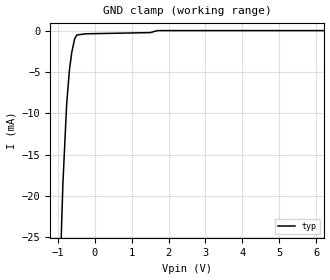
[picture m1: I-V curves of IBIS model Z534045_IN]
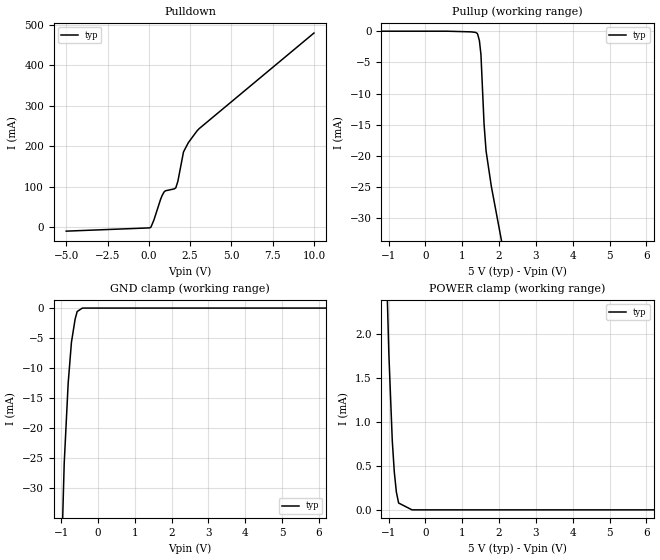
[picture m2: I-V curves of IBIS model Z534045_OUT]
| YOU ARE ONLY AUTHORIZED TO USE THIS SOFTWARE
| ACCORDING TO LICENSOR'S LICENSE RESTRICTIONS.
[IBIS Ver] 3.1
[File Name] mc54f00j.ibs
[File Rev] 2.0
[Source] Measured and created by ICX Technology
[Date] Friday 7/14/00 9:08:02 AM
[Copyright]
| (C) COPYRIGHT 1993-2000
| MENTOR GRAPHICS CORPORATION
| ICX STANDARD LIBRARY, ICX PROJECT MODELING,
| ICX CUSTOM MODELING, ICX VENDOR MODEL
| ALL RIGHTS RESERVED.
| THE FOLLOWING ARE TRADEMARKS OR SERVICE MARKS OF
| MENTOR GRAPHICS CORPORATION:ICX (R), ICX STANDARD
| LIBRARY(R), ICX PROJECT MODELING(R), ICX CUSTOM
| MODELING(R), qualityIBIS(TM), MODELVIEWER(TM),
| AND MODELEDITOR(TM)
| ALL COPIES OF SOFTWARE, INCLUDING BUT NOT LIMITED TO
| ANY MODIFICATIONS, ENHANCEMENTS OR DERIVATIVE WORKS,
| MUST CONTAIN ALL MENTOR GRAPHICS CORPORATION'S
| NOTICES AND LEGENDS, INCLUDING THOSE EMBEDDED IN
| SOFTWARE AND THOSE AFFIXED TO SOFTWARE MEDIUM
| AND CONTAINER, AS RECEIVED FROM MENTOR GRAPHICS
| CORPORATION.
|  ZAP Model Builder 2.7
[Component] MC54F00J
[Manufacturer] OnSemiconductor
[Package]
| variable   typ   min   max
R_pkg  .21ohms NA NA
L_pkg  4.543nH NA NA
C_pkg  1.8pF NA NA
[Pin] signal_name  model_name  R_pin  L_pin C_pin
1 1A Z534045_IN .22 6.757n 2.434p
2 1B Z534045_IN .212 4.757n 1.941p
3 1Y Z534045_OUT .204 3.257n 1.448p
4 2A Z534045_IN .196 2.257n .955p
5 2B Z534045_IN .204 3.257n 1.448p
6 2Y Z534045_OUT .212 4.757n 1.941p
7 GND GND .22 6.757n 2.434p
8 3Y Z534045_OUT .22 6.757n 2.434p
9 3A Z534045_IN .212 4.757n 1.941p
10 3B Z534045_IN .204 3.257n 1.448p
11 4Y Z534045_OUT .196 2.257n .955p
12 4A Z534045_IN .204 3.257n 1.448p
13 4B Z534045_IN .212 4.757n 1.941p
14 VCC POWER .22 6.757n 2.434p
| Models and submodels in the file (2): Z534045_IN (Input), Z534045_OUT (Output)
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| (C) COPYRIGHT 1993-2000
| MENTOR GRAPHICS CORPORATION
| ICX STANDARD LIBRARY, ICX PROJECT MODELING,
| ICX CUSTOM MODELING, ICX VENDOR MODEL
| ALL RIGHTS RESERVED.
| THE FOLLOWING ARE TRADEMARKS OR SERVICE MARKS OF
| MENTOR GRAPHICS CORPORATION:ICX (R), ICX STANDARD
| LIBRARY(R), ICX PROJECT MODELING(R), ICX CUSTOM
| MODELING(R), qualityIBIS(TM), MODELVIEWER(TM),
| AND MODELEDITOR(TM)
| ALL COPIES OF SOFTWARE, INCLUDING BUT NOT LIMITED TO
| ANY MODIFICATIONS, ENHANCEMENTS OR DERIVATIVE WORKS,
| MUST CONTAIN ALL MENTOR GRAPHICS CORPORATION'S
| NOTICES AND LEGENDS, INCLUDING THOSE EMBEDDED IN
| SOFTWARE AND THOSE AFFIXED TO SOFTWARE MEDIUM
| AND CONTAINER, AS RECEIVED FROM MENTOR GRAPHICS
| CORPORATION.
| Model Application Version 1.89 2/18/99.
[Model] Z534045_IN
Model_type Input
Vinl = 800.0mV
Vinh = 2.000V
C_comp 4.000pF NA NA
| variable typ   min   max
[Voltage Range] 5.000V NA NA
[GND Clamp Reference] 0.000V NA NA
[POWER Clamp Reference] 5.000V NA NA
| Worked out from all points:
|   GND clamp passes 1 mA (typ) near -0.54 V on its own axis
[GND Clamp]
-5V       -619.8mA   NA         NA
-859.3mV  -18.6mA    NA         NA
-756.9mV  -8.912mA   NA         NA
-681.8mV  -4.787mA   NA         NA
-620.1mV  -2.684mA   NA         NA
-540.2mV  -998uA     NA         NA
-481.2mV  -537.1uA   NA         NA
-240.6mV  -395.6uA   NA         NA
1.506V    -250.9uA   NA         NA
1.704V    -6.629uA   NA         NA
10V       -6.629uA   NA         NA
[POWER Clamp]
-5V       0A         NA         NA
10V       0A         NA         NA
| (C) COPYRIGHT 1993-2000
| MENTOR GRAPHICS CORPORATION
| ICX STANDARD LIBRARY, ICX PROJECT MODELING,
| ICX CUSTOM MODELING, ICX VENDOR MODEL
| ALL RIGHTS RESERVED.
| THE FOLLOWING ARE TRADEMARKS OR SERVICE MARKS OF
| MENTOR GRAPHICS CORPORATION:ICX (R), ICX STANDARD
| LIBRARY(R), ICX PROJECT MODELING(R), ICX CUSTOM
| MODELING(R), qualityIBIS(TM), MODELVIEWER(TM),
| AND MODELEDITOR(TM)
| ALL COPIES OF SOFTWARE, INCLUDING BUT NOT LIMITED TO
| ANY MODIFICATIONS, ENHANCEMENTS OR DERIVATIVE WORKS,
| MUST CONTAIN ALL MENTOR GRAPHICS CORPORATION'S
| NOTICES AND LEGENDS, INCLUDING THOSE EMBEDDED IN
| SOFTWARE AND THOSE AFFIXED TO SOFTWARE MEDIUM
| AND CONTAINER, AS RECEIVED FROM MENTOR GRAPHICS
| CORPORATION.
| Model Application Version 1.89 2/18/99.
[Model] Z534045_OUT
Model_type Output
Vref=0.000V
Rref=500.0ohms
Cref=50.00pF
Vmeas=1.500V
C_comp 8.000pF NA NA
| variable typ   min   max
[Voltage Range] 5.000V NA NA
[POWER Clamp Reference] 5.000V NA NA
[Pullup Reference] 5.000V NA NA
[Pulldown Reference] 0.000V NA NA
[GND Clamp Reference] 0.000V NA NA
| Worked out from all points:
|   slope of the pulldown table from 0 to 0.75 V, typ, clamps not added: 10.1 ohm
|   slope of the pullup table from 0 to 0.75 V, typ, clamps not added: 28.1 kohm
|   GND clamp passes 1 mA (typ) near -0.58 V on its own axis
|   POWER clamp passes 1 mA (typ) near -0.92 V on its own axis
[GND Clamp]
-5V       -1.728A    NA         NA
-1.238V   -116.1mA   NA         NA
-1.079V   -61.39mA   NA         NA
-917.9mV  -25.87mA   NA         NA
-810.5mV  -12.53mA   NA         NA
-721.5mV  -5.696mA   NA         NA
-622.1mV  -1.858mA   NA         NA
-566.4mV  -578.8uA   NA         NA
-424.8mV  0A         NA         NA
10V       0A         NA         NA
[Pulldown]
-5V       -9.493mA   NA         NA
131.7mV   580.9uA    NA         NA
312.5mV   18.35mA    NA         NA
712.9mV   68.97mA    NA         NA
913.7mV   86.63mA    NA         NA
1.026V    90.36mA    NA         NA
1.637V    97.71mA    NA         NA
1.761V    113.7mA    NA         NA
2.101V    186.2mA    NA         NA
2.393V    209mA      NA         NA
2.921V    238.2mA    NA         NA
10V       479.9mA    NA         NA
[Pullup]
-5V       8.267uA    NA         NA
586mV     8.267uA    NA         NA
1.241V    -98.48uA   NA         NA
1.362V    -183.8uA   NA         NA
1.401V    -318.5uA   NA         NA
1.418V    -468.3uA   NA         NA
1.466V    -1.512mA   NA         NA
1.508V    -3.759mA   NA         NA
1.592V    -14.87mA   NA         NA
1.647V    -19.23mA   NA         NA
1.79V     -24.91mA   NA         NA
10V       -284.2mA   NA         NA
[POWER Clamp]
-5V       88.57mA    NA         NA
-1.112V   3.579mA    NA         NA
-992mV    1.769mA    NA         NA
-900mV    788.8uA    NA         NA
-845mV    431.3uA    NA         NA
-789mV    203.2uA    NA         NA
-728mV    77.95uA    NA         NA
-364mV    0A         NA         NA
10V       0A         NA         NA
[Ramp]
| variable typ min max
dV/dt_r 2.017/2.221n NA NA
dV/dt_f 2.017/441.9p NA NA
R_load = 500.0Ohms
